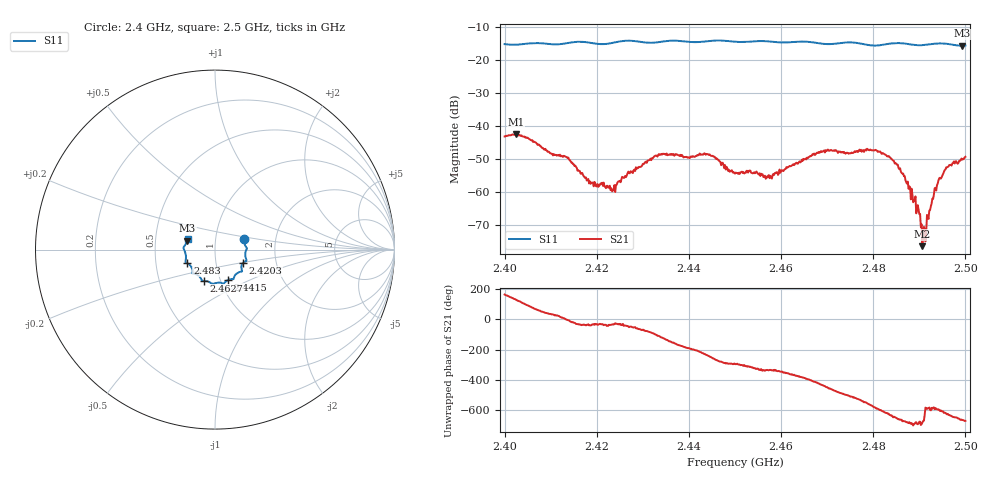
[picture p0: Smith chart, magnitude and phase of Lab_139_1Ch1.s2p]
# Hz S RI R 50
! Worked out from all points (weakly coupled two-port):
!   601 points, 2.4 GHz to 2.5 GHz, reference 50 ohm
!   highest |S21| = -42.58 dB at 2.4025 GHz (marker M1); lowest = -76.4 dB at 2.4907 GHz (marker M2)
!   lowest |S11| = -15.8 dB at 2.4993 GHz (marker M3), VSWR 1.39, Z = 36.4 + j3.68 ohm
!   |S11| at or under -10 dB: start of sweep to end of sweep
!   S12 and S22 are empty: the file has one direction only
!   S11 on the Smith chart (normalised r, x): 2.4 GHz: 1.38, +0.16; 2.4203 GHz: 1.35, -0.21; 2.4415 GHz: 1.09, -0.38; 2.4627 GHz: 0.84, -0.30; 2.483 GHz: 0.73, -0.11; 2.5 GHz: 0.73, +0.09
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2.4e9  0.1619 0.0568  -0.00671 0.00166  0 0  0 0
2.4025e9  0.1654 0.0307  -0.00492 0.00557  0 0  0 0
2.413333e9  0.1706 -0.0451  0.0034 5.43e-05  0 0  0 0
2.416667e9  0.1755 -0.062  0.00151 -0.00116  0 0  0 0
2.420333e9  0.1558 -0.0745  0.000994 -0.000673  0 0  0 0
2.4235e9  0.1473 -0.1034  0.000888 -0.00056  0 0  0 0
2.433333e9  0.1082 -0.1481  -0.00117 -0.00345  0 0  0 0
2.4415e9  0.0732 -0.1687  -0.00317 0.00151  0 0  0 0
2.445e9  0.052 -0.1862  -0.000925 0.00339  0 0  0 0
2.45e9  0.0296 -0.1844  0.000824 0.00171  0 0  0 0
2.4575e9  -0.0207 -0.1873  0.00148 0.000666  0 0  0 0
2.462667e9  -0.0612 -0.1744  0.0026 -0.00048  0 0  0 0
2.466667e9  -0.0751 -0.1675  0.0024 -0.00267  0 0  0 0
2.483e9  -0.1541 -0.0764  -0.000452 0.00343  0 0  0 0
2.483333e9  -0.1564 -0.0753  -0.000158 0.0035  0 0  0 0
2.487e9  -0.1636 -0.0612  0.00115 0.000966  0 0  0 0
2.489667e9  -0.1619 -0.0337  0.000588 0.000243  0 0  0 0
2.490667e9  -0.1644 -0.0215  0.000125 8.67e-05  0 0  0 0
2.491167e9  -0.1659 -0.0158  2.22e-05 0.000272  0 0  0 0
2.4945e9  -0.1757 0.00961  -0.000584 0.00154  0 0  0 0
2.499333e9  -0.1552 0.0491  0.00196 0.00239  0 0  0 0
2.5e9  -0.1532 0.0578  0.00242 0.0024  0 0  0 0
